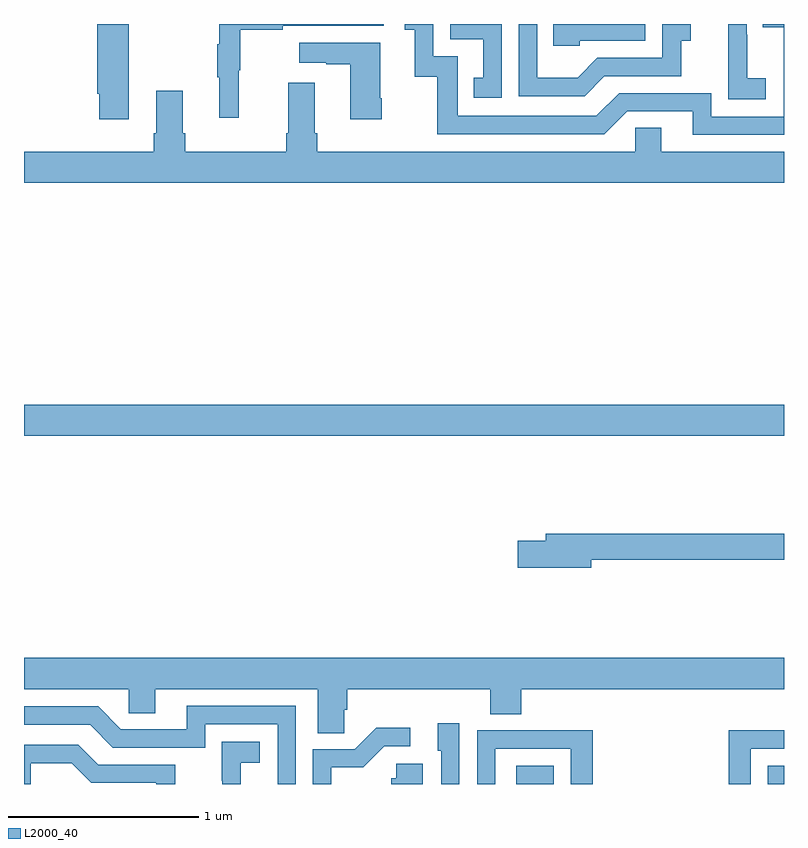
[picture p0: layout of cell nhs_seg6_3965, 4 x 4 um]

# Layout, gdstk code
import gdstk
lib = gdstk.Library(unit=1e-6, precision=1e-09)
def R(c, l, rs):  # rectangles x0, y0, x1, y1
    for r in rs: c.add(gdstk.rectangle(r[:2], r[2:], *l))
def P(c, l, *ps):  # polygons
    for p in ps: c.add(gdstk.Polygon(p, *l))
L2000_40 = (2000, 40)

nhs_seg6_3965 = lib.new_cell('nhs_seg6_3965')
R(nhs_seg6_3965, L2000_40, [(347.591,949.5,347.788,949.597), (348.914,949.5,349,949.597), (345,951.332,349,951.496)])
P(nhs_seg6_3965, L2000_40, [(346.13,953.256),(346.138,953.256),(346.138,953.47),(346.361,953.47),(346.361,953.49),(346.894,953.49),(346.894,953.5),(346.028,953.5),(346.028,953.393),(346.017,953.393),(346.017,953.219),(346.028,953.219),(346.028,953.007),(346.13,953.007)],
  [(347.514,953.5),(347.244,953.5),(347.244,953.421),(347.417,953.421),(347.417,953.217),(347.368,953.217),(347.368,953.112),(347.514,953.112)],
  [(348.055,953.226),(348.459,953.226),(348.459,953.411),(348.508,953.411),(348.508,953.5),(348.36,953.5),(348.36,953.322),(348.018,953.322),(347.914,953.218),(347.7,953.218),(347.7,953.5),(347.604,953.5),(347.604,953.121),(347.95,953.121)],
  [(345.55,953.5),(345.386,953.5),(345.386,953.133),(345.397,953.133),(345.397,952.998),(345.55,952.998)],
  [(347.925,953.412),(348.27,953.412),(348.27,953.5),(347.785,953.5),(347.785,953.385),(347.925,953.385)],
  [(348.904,953.215),(348.806,953.215),(348.806,953.444),(348.804,953.444),(348.804,953.5),(348.707,953.5),(348.707,953.311),(348.706,953.311),(348.706,953.105),(348.904,953.105)],
  [(349,953.5),(348.889,953.5),(348.889,953.482),(348.999,953.482),(348.999,953.013),(348.618,953.013),(348.618,953.136),(348.132,953.136),(348.012,953.016),(347.283,953.016),(347.283,953.331),(347.154,953.331),(347.154,953.5),(347.004,953.5),(347.004,953.469),(347.057,953.469),(347.057,953.223),(347.175,953.223),(347.175,952.92),(348.054,952.92),(348.174,953.04),(348.521,953.04),(348.521,952.917),(349,952.917)],
  [(346.884,953.11),(346.876,953.11),(346.876,953.401),(346.449,953.401),(346.449,953.297),(346.592,953.297),(346.592,953.287),(346.718,953.287),(346.718,952.998),(346.884,952.998)],
  [(349,952.828),(348.355,952.828),(348.355,952.955),(348.216,952.955),(348.216,952.828),(346.544,952.828),(346.544,952.924),(346.531,952.924),(346.531,953.191),(346.391,953.191),(346.391,952.924),(346.379,952.924),(346.379,952.828),(345.848,952.828),(345.848,952.924),(345.835,952.924),(345.835,953.149),(345.695,953.149),(345.695,952.924),(345.683,952.924),(345.683,952.828),(345,952.828),(345,952.664),(349,952.664)],
  [(347.986,950.68),(349,950.68),(349,950.816),(347.747,950.816),(347.747,950.78),(347.598,950.78),(347.598,950.638),(347.986,950.638)],
  [(346.686,949.891),(346.7,949.891),(346.7,950),(347.453,950),(347.453,949.867),(347.618,949.867),(347.618,950),(349,950),(349,950.164),(345,950.164),(345,950),(345.552,950),(345.552,949.873),(345.691,949.873),(345.691,950),(346.547,950),(346.547,949.768),(346.686,949.768)],
  [(346.431,949.911),(345.857,949.911),(345.857,949.788),(345.51,949.788),(345.39,949.908),(345,949.908),(345,949.812),(345.348,949.812),(345.468,949.692),(345.954,949.692),(345.954,949.815),(346.335,949.815),(346.335,949.5),(346.431,949.5)],
  [(347.292,949.819),(347.177,949.819),(347.177,949.674),(347.196,949.674),(347.196,949.5),(347.292,949.5)],
  [(346.617,949.587),(346.786,949.587),(346.897,949.698),(347.032,949.698),(347.032,949.796),(346.853,949.796),(346.74,949.683),(346.521,949.683),(346.521,949.5),(346.617,949.5)],
  [(347.481,949.686),(347.877,949.686),(347.877,949.5),(347.993,949.5),(347.993,949.784),(347.701,949.784),(347.701,949.782),(347.385,949.782),(347.385,949.5),(347.481,949.5)],
  [(348.825,949.686),(349,949.686),(349,949.784),(348.709,949.784),(348.709,949.5),(348.825,949.5)],
  [(346.142,949.613),(346.24,949.613),(346.24,949.723),(346.042,949.723),(346.042,949.517),(346.043,949.517),(346.043,949.5),(346.142,949.5)],
  [(345.036,949.61),(345.25,949.61),(345.354,949.506),(345.696,949.506),(345.696,949.5),(345.795,949.5),(345.795,949.602),(345.391,949.602),(345.286,949.707),(345,949.707),(345,949.5),(345.036,949.5)],
  [(347.098,949.606),(346.959,949.606),(346.959,949.53),(346.933,949.53),(346.933,949.5),(347.098,949.5)])

lib.write_gds('nhs_seg6_3965.gds')
